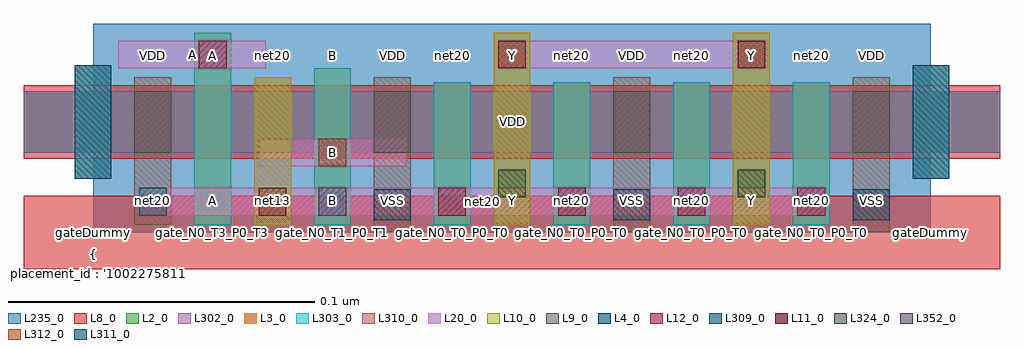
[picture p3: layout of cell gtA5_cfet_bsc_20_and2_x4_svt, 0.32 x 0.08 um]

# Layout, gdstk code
import gdstk
lib = gdstk.Library(unit=1e-6, precision=2.5e-10)
def R(c, l, rs):  # rectangles x0, y0, x1, y1
    for r in rs: c.add(gdstk.rectangle(r[:2], r[2:], *l))
def A(c, l, x, y, w, h, nx, ny, dx, dy):  # array of equal rectangles
    R(c, l, [(x+i*dx, y+j*dy, x+i*dx+w, y+j*dy+h) for i in range(nx) for j in range(ny)])
L2_0 = (2, 0)
L3_0 = (3, 0)
L4_0 = (4, 0)
L8_0 = (8, 0)
L9_0 = (9, 0)
L10_0 = (10, 0)
L11_0 = (11, 0)
L12_0 = (12, 0)
L20_0 = (20, 0)
L235_0 = (235, 0)
L302_0 = (302, 0)
L303_0 = (303, 0)
L309_0 = (309, 0)
L310_0 = (310, 0)
L311_0 = (311, 0)
L312_0 = (312, 0)
L324_0 = (324, 0)
L352_0 = (352, 0)

gta5_cfet_bsc_20_and2_x4 = lib.new_cell('gtA5_cfet_bsc_20_and2_x4_svt')
R(gta5_cfet_bsc_20_and2_x4, L2_0, [(-0.0225,0.026,0.2955,0.046)])
A(gta5_cfet_bsc_20_and2_x4, L3_0, 0.111, 0.0025, 0.012, 0.0465, 4, 1, 0.039, 0)
R(gta5_cfet_bsc_20_and2_x4, L3_0, [(0.033,0.0025,0.045,0.065), (0.072,0.0025,0.084,0.0535), (-0.006,0.0175,0.006,0.0545), (0.267,0.0175,0.279,0.0545)])
R(gta5_cfet_bsc_20_and2_x4, L4_0, [(-0.006,0.0175,0.006,0.0545), (0.267,0.0175,0.279,0.0545)])
R(gta5_cfet_bsc_20_and2_x4, L8_0, [(-0.0225,-0.012,0.2955,0.012), (-0.0225,0.024,0.2955,0.048)])
A(gta5_cfet_bsc_20_and2_x4, L9_0, 0.0135, 0.026, 0.012, 0.02, 4, 1, 0.078, 0)
R(gta5_cfet_bsc_20_and2_x4, L10_0, [(0.0525,0.0025,0.0645,0.0505), (0.1305,0.0025,0.1425,0.065), (0.2085,0.0025,0.2205,0.065)])
R(gta5_cfet_bsc_20_and2_x4, L11_0, [(0.054,0.0055,0.063,0.0145), (0.132,0.0535,0.141,0.0625), (0.21,0.0535,0.219,0.0625)])
A(gta5_cfet_bsc_20_and2_x4, L12_0, 0.1125, 0.0055, 0.009, 0.009, 4, 1, 0.039, 0)
R(gta5_cfet_bsc_20_and2_x4, L12_0, [(0.0345,0.0535,0.0435,0.0625)])
R(gta5_cfet_bsc_20_and2_x4, L20_0, [(0.015,0.0055,0.2385,0.0145), (0.054,0.0215,0.102,0.0305), (0.0083,0.0535,0.0563,0.0625), (0.132,0.0535,0.22,0.0625)])
R(gta5_cfet_bsc_20_and2_x4, L235_0, [(0,0,0.273,0.068)])
R(gta5_cfet_bsc_20_and2_x4, L302_0, [(-0.0225,0.026,0.2955,0.046)])
A(gta5_cfet_bsc_20_and2_x4, L303_0, 0.111, 0.0025, 0.012, 0.0465, 4, 1, 0.039, 0)
R(gta5_cfet_bsc_20_and2_x4, L303_0, [(0.033,0.0025,0.045,0.065), (0.072,0.0025,0.084,0.0535), (-0.006,0.0175,0.006,0.0545), (0.267,0.0175,0.279,0.0545)])
A(gta5_cfet_bsc_20_and2_x4, L309_0, 0.0915, 0.004, 0.012, 0.01, 3, 1, 0.078, 0)
A(gta5_cfet_bsc_20_and2_x4, L310_0, 0.0915, 0, 0.012, 0.0505, 3, 1, 0.078, 0)
R(gta5_cfet_bsc_20_and2_x4, L310_0, [(0.0135,0.0025,0.0255,0.0505), (0.1305,0.0025,0.1425,0.065), (0.2085,0.0025,0.2205,0.065), (0.0525,0.026,0.0645,0.0505)])
R(gta5_cfet_bsc_20_and2_x4, L311_0, [(0.015,0.0055,0.024,0.0145)])
R(gta5_cfet_bsc_20_and2_x4, L312_0, [(0.0735,0.0215,0.0825,0.0305)])
R(gta5_cfet_bsc_20_and2_x4, L324_0, [(0.132,0.0115,0.141,0.0205), (0.21,0.0115,0.219,0.0205)])
R(gta5_cfet_bsc_20_and2_x4, L352_0, [(0.0735,0.0055,0.0825,0.0145)])
gta5_cfet_bsc_20_and2_x4.add(gdstk.Label('net20', (0.1268,0.01), layer=100, texttype=100))
gta5_cfet_bsc_20_and2_x4.add(gdstk.Label('gateDummy', (0,0), layer=103, texttype=103))
gta5_cfet_bsc_20_and2_x4.add(gdstk.Label('sd_N0_T0_P0_VDD', (0.0195,0), layer=103, texttype=103))
gta5_cfet_bsc_20_and2_x4.add(gdstk.Label('gate_N0_T3_P0_T3', (0.039,0), layer=103, texttype=103))
gta5_cfet_bsc_20_and2_x4.add(gdstk.Label('sd_N0_abut_P0_T0', (0.0585,0), layer=103, texttype=103))
gta5_cfet_bsc_20_and2_x4.add(gdstk.Label('gate_N0_T1_P0_T1', (0.078,0), layer=103, texttype=103))
gta5_cfet_bsc_20_and2_x4.add(gdstk.Label('sd_N0_VSS_P0_VDD', (0.0975,0), layer=103, texttype=103))
gta5_cfet_bsc_20_and2_x4.add(gdstk.Label('gate_N0_T0_P0_T0', (0.117,0), layer=103, texttype=103))
gta5_cfet_bsc_20_and2_x4.add(gdstk.Label('sd_N0_T3_P0_T3', (0.1365,0), layer=103, texttype=103))
gta5_cfet_bsc_20_and2_x4.add(gdstk.Label('gate_N0_T0_P0_T0', (0.156,0), layer=103, texttype=103))
gta5_cfet_bsc_20_and2_x4.add(gdstk.Label('sd_N0_VSS_P0_VDD', (0.1755,0), layer=103, texttype=103))
gta5_cfet_bsc_20_and2_x4.add(gdstk.Label('gate_N0_T0_P0_T0', (0.195,0), layer=103, texttype=103))
gta5_cfet_bsc_20_and2_x4.add(gdstk.Label('sd_N0_T3_P0_T3', (0.2145,0), layer=103, texttype=103))
gta5_cfet_bsc_20_and2_x4.add(gdstk.Label('gate_N0_T0_P0_T0', (0.234,0), layer=103, texttype=103))
gta5_cfet_bsc_20_and2_x4.add(gdstk.Label('sd_N0_VSS_P0_VDD', (0.2535,0), layer=103, texttype=103))
gta5_cfet_bsc_20_and2_x4.add(gdstk.Label('gateDummy', (0.273,0), layer=103, texttype=103))
gta5_cfet_bsc_20_and2_x4.add(gdstk.Label('}', (0,-0.0742), layer=104, texttype=104))
gta5_cfet_bsc_20_and2_x4.add(gdstk.Label('  power : None', (0,-0.0675), layer=104, texttype=104))
gta5_cfet_bsc_20_and2_x4.add(gdstk.Label('  performance : None', (0,-0.0607), layer=104, texttype=104))
gta5_cfet_bsc_20_and2_x4.add(gdstk.Label("  solution_hash : '12219782719012958635'", (0,-0.054), layer=104, texttype=104))
gta5_cfet_bsc_20_and2_x4.add(gdstk.Label('  number_m2 : 0', (0,-0.0473), layer=104, texttype=104))
gta5_cfet_bsc_20_and2_x4.add(gdstk.Label('  number_m1 : 0', (0,-0.0405), layer=104, texttype=104))
gta5_cfet_bsc_20_and2_x4.add(gdstk.Label('  number_m0cuts : 0', (0,-0.0338), layer=104, texttype=104))
gta5_cfet_bsc_20_and2_x4.add(gdstk.Label('  number_m0 : 4', (0,-0.027), layer=104, texttype=104))
gta5_cfet_bsc_20_and2_x4.add(gdstk.Label("  solution_number : '0000'", (0,-0.0203), layer=104, texttype=104))
gta5_cfet_bsc_20_and2_x4.add(gdstk.Label("  placement_id : '10022758112739806896'", (0,-0.0135), layer=104, texttype=104))
gta5_cfet_bsc_20_and2_x4.add(gdstk.Label('{', (0,-0.0067), layer=104, texttype=104))
gta5_cfet_bsc_20_and2_x4.add(gdstk.Label('net20', (0.0195,0.0103), layer=105, texttype=105))
gta5_cfet_bsc_20_and2_x4.add(gdstk.Label('A', (0.039,0.0103), layer=105, texttype=105))
gta5_cfet_bsc_20_and2_x4.add(gdstk.Label('net13', (0.0585,0.0103), layer=105, texttype=105))
gta5_cfet_bsc_20_and2_x4.add(gdstk.Label('B', (0.078,0.0103), layer=105, texttype=105))
gta5_cfet_bsc_20_and2_x4.add(gdstk.Label('VSS', (0.0975,0.0103), layer=105, texttype=105))
gta5_cfet_bsc_20_and2_x4.add(gdstk.Label('net20', (0.117,0.0103), layer=105, texttype=105))
gta5_cfet_bsc_20_and2_x4.add(gdstk.Label('Y', (0.1365,0.0103), layer=105, texttype=105))
gta5_cfet_bsc_20_and2_x4.add(gdstk.Label('net20', (0.156,0.0103), layer=105, texttype=105))
gta5_cfet_bsc_20_and2_x4.add(gdstk.Label('VSS', (0.1755,0.0103), layer=105, texttype=105))
gta5_cfet_bsc_20_and2_x4.add(gdstk.Label('net20', (0.195,0.0103), layer=105, texttype=105))
gta5_cfet_bsc_20_and2_x4.add(gdstk.Label('Y', (0.2145,0.0103), layer=105, texttype=105))
gta5_cfet_bsc_20_and2_x4.add(gdstk.Label('net20', (0.234,0.0103), layer=105, texttype=105))
gta5_cfet_bsc_20_and2_x4.add(gdstk.Label('VSS', (0.2535,0.0103), layer=105, texttype=105))
gta5_cfet_bsc_20_and2_x4.add(gdstk.Label('VDD', (0.0195,0.0578), layer=105, texttype=105))
gta5_cfet_bsc_20_and2_x4.add(gdstk.Label('A', (0.039,0.0578), layer=105, texttype=105))
gta5_cfet_bsc_20_and2_x4.add(gdstk.Label('net20', (0.0585,0.0578), layer=105, texttype=105))
gta5_cfet_bsc_20_and2_x4.add(gdstk.Label('B', (0.078,0.0578), layer=105, texttype=105))
gta5_cfet_bsc_20_and2_x4.add(gdstk.Label('VDD', (0.0975,0.0578), layer=105, texttype=105))
gta5_cfet_bsc_20_and2_x4.add(gdstk.Label('net20', (0.117,0.0578), layer=105, texttype=105))
gta5_cfet_bsc_20_and2_x4.add(gdstk.Label('Y', (0.1365,0.0578), layer=105, texttype=105))
gta5_cfet_bsc_20_and2_x4.add(gdstk.Label('net20', (0.156,0.0578), layer=105, texttype=105))
gta5_cfet_bsc_20_and2_x4.add(gdstk.Label('VDD', (0.1755,0.0578), layer=105, texttype=105))
gta5_cfet_bsc_20_and2_x4.add(gdstk.Label('net20', (0.195,0.0578), layer=105, texttype=105))
gta5_cfet_bsc_20_and2_x4.add(gdstk.Label('Y', (0.2145,0.0578), layer=105, texttype=105))
gta5_cfet_bsc_20_and2_x4.add(gdstk.Label('net20', (0.234,0.0578), layer=105, texttype=105))
gta5_cfet_bsc_20_and2_x4.add(gdstk.Label('VDD', (0.2535,0.0578), layer=105, texttype=105))
gta5_cfet_bsc_20_and2_x4.add(gdstk.Label('VSS', (0.1365,0), layer=8, texttype=0))
gta5_cfet_bsc_20_and2_x4.add(gdstk.Label('VDD', (0.1365,0.036), layer=8, texttype=0))
gta5_cfet_bsc_20_and2_x4.add(gdstk.Label('B', (0.078,0.026), layer=20, texttype=251))
gta5_cfet_bsc_20_and2_x4.add(gdstk.Label('A', (0.0323,0.058), layer=20, texttype=251))
gta5_cfet_bsc_20_and2_x4.add(gdstk.Label('Y', (0.176,0.058), layer=20, texttype=251))
gta5_cfet_bsc_20_and2_x4.add(gdstk.Label('gtA5_cfet_bsc_20nm_and2_x4_rvt_0', (0,0), layer=235, texttype=0))

lib.write_gds('gtA5_cfet_bsc_20_and2_x4_svt.gds')
